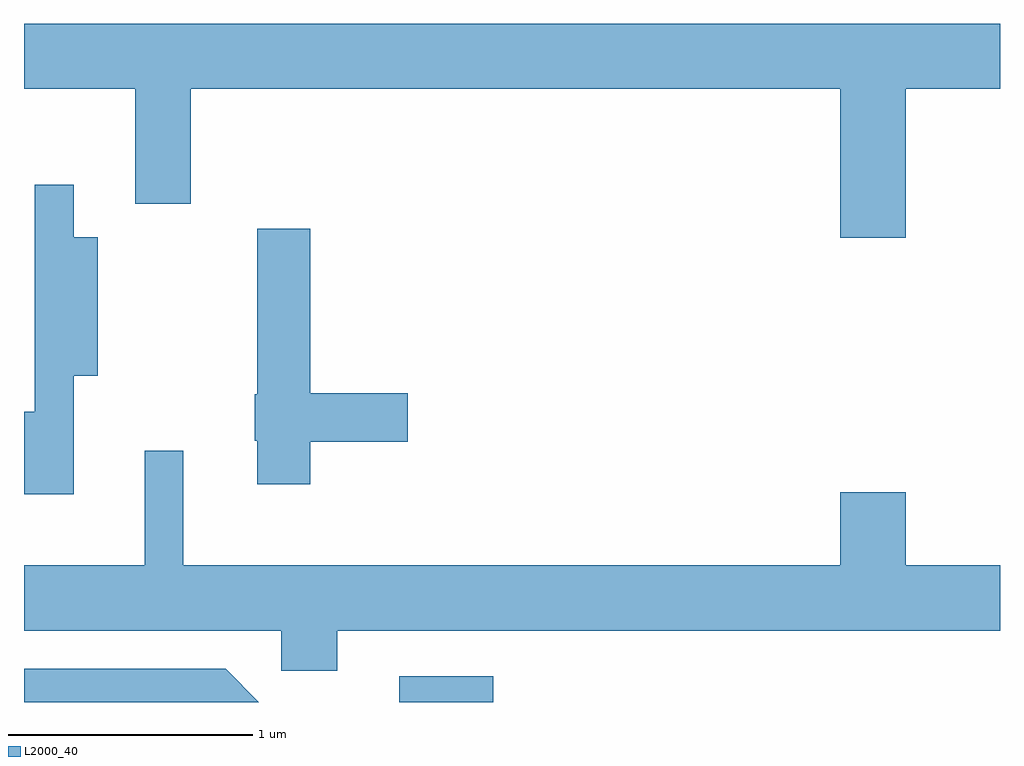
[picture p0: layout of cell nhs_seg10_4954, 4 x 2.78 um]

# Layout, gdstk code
import gdstk
lib = gdstk.Library(unit=1e-6, precision=1e-09)
def R(c, l, rs):  # rectangles x0, y0, x1, y1
    for r in rs: c.add(gdstk.rectangle(r[:2], r[2:], *l))
def P(c, l, *ps):  # polygons
    for p in ps: c.add(gdstk.Polygon(p, *l))
L2000_40 = (2000, 40)

nhs_seg10_4954 = lib.new_cell('nhs_seg10_4954')
R(nhs_seg10_4954, L2000_40, [(333.148,2102.522,333.534,2102.629)])
P(nhs_seg10_4954, L2000_40, [(331.611,2105.036),(332.066,2105.036),(332.066,2104.566),(332.294,2104.566),(332.294,2105.036),(334.956,2105.036),(334.956,2104.426),(335.224,2104.426),(335.224,2105.036),(335.611,2105.036),(335.611,2105.304),(331.611,2105.304)],
  [(331.814,2103.861),(331.914,2103.861),(331.914,2104.429),(331.814,2104.429),(331.814,2104.643),(331.656,2104.643),(331.656,2103.714),(331.611,2103.714),(331.611,2103.376),(331.814,2103.376)],
  [(332.784,2103.591),(333.184,2103.591),(333.184,2103.789),(332.784,2103.789),(332.784,2104.464),(332.566,2104.464),(332.566,2103.785),(332.556,2103.785),(332.556,2103.595),(332.566,2103.595),(332.566,2103.416),(332.784,2103.416)],
  [(332.894,2102.816),(335.611,2102.816),(335.611,2103.084),(335.224,2103.084),(335.224,2103.384),(334.956,2103.384),(334.956,2103.084),(332.264,2103.084),(332.264,2103.553),(332.106,2103.553),(332.106,2103.084),(331.611,2103.084),(331.611,2102.816),(332.666,2102.816),(332.666,2102.651),(332.894,2102.651)],
  [(332.437,2102.659),(331.611,2102.659),(331.611,2102.522),(332.574,2102.522)])

lib.write_gds('nhs_seg10_4954.gds')
